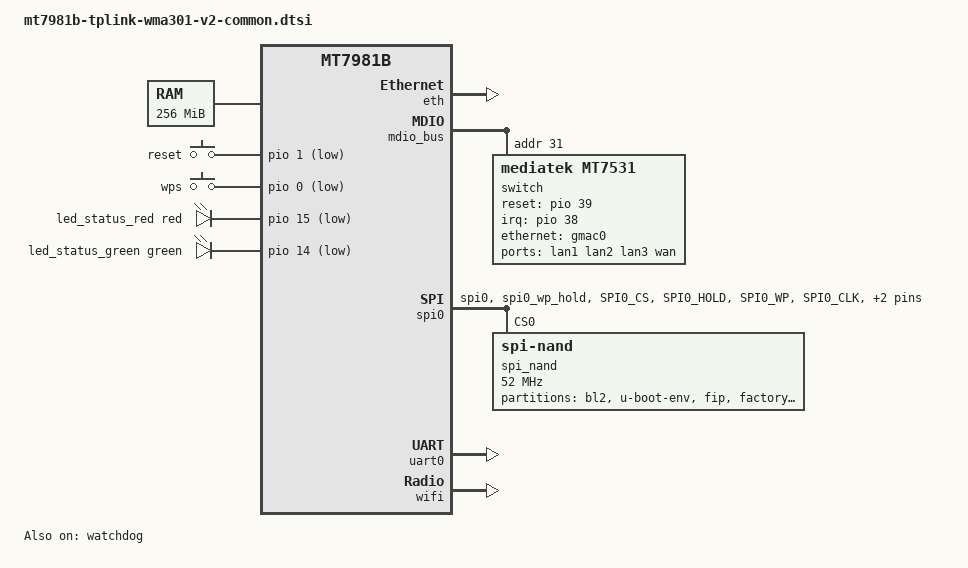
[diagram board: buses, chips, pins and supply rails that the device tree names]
// SPDX-License-Identifier: GPL-2.0-or-later OR MIT

/dts-v1/;
#include <dt-bindings/gpio/gpio.h>
#include <dt-bindings/input/input.h>
#include <dt-bindings/leds/common.h>

#include "mt7981b.dtsi"

/ {
	aliases {
		led-boot = &led_status_red;
		led-failsafe = &led_status_red;
		led-running = &led_status_green;
		led-upgrade = &led_status_green;
		serial0 = &uart0;
	};

	chosen {
		stdout-path = "serial0:115200n8";
		bootargs = "root=/dev/fit0 rootwait";
		rootdisk = <&ubi_rootdisk>;
	};

	memory@40000000 {
		reg = <0 0x40000000 0 0x10000000>;
		device_type = "memory";
	};

	gpio-keys {
		compatible = "gpio-keys";

		button-reset {
			label = "reset";
			linux,code = <KEY_RESTART>;
			gpios = <&pio 1 GPIO_ACTIVE_LOW>;
		};

		button-wps {
			label = "wps";
			linux,code = <KEY_WPS_BUTTON>;
			gpios = <&pio 0 GPIO_ACTIVE_LOW>;
		};
	};

	gpio-leds {
		compatible = "gpio-leds";

		led_status_red: red {
			function = LED_FUNCTION_STATUS;
			color = <LED_COLOR_ID_RED>;
			gpios = <&pio 15 GPIO_ACTIVE_LOW>;
		};

		led_status_green: green {
			function = LED_FUNCTION_STATUS;
			color = <LED_COLOR_ID_GREEN>;
			gpios = <&pio 14 GPIO_ACTIVE_LOW>;
		};
	};
};

&eth {
	status = "okay";

	gmac0: mac@0 {
		compatible = "mediatek,eth-mac";
		reg = <0>;
		phy-mode = "2500base-x";
		nvmem-cells = <&macaddr_1c 0>;
		nvmem-cell-names = "mac-address";

		fixed-link {
			speed = <2500>;
			full-duplex;
			pause;
		};
	};
};

&mdio_bus {
	switch: switch@1f {
		compatible = "mediatek,mt7531";
		reg = <31>;
		reset-gpios = <&pio 39 GPIO_ACTIVE_HIGH>;
		interrupt-controller;
		#interrupt-cells = <1>;
		interrupt-parent = <&pio>;
		interrupts = <38 IRQ_TYPE_LEVEL_HIGH>;
	};
};

&pio {
	spi0_flash_pins: spi0-pins {
		mux {
			function = "spi";
			groups = "spi0", "spi0_wp_hold";
		};

		conf-pu {
			pins = "SPI0_CS", "SPI0_HOLD", "SPI0_WP";
			drive-strength = <MTK_DRIVE_8mA>;
			bias-pull-up = <MTK_PUPD_SET_R1R0_11>;
		};

		conf-pd {
			pins = "SPI0_CLK", "SPI0_MOSI", "SPI0_MISO";
			drive-strength = <MTK_DRIVE_8mA>;
			bias-pull-down = <MTK_PUPD_SET_R1R0_11>;
		};
	};
};

&spi0 {
	pinctrl-names = "default";
	pinctrl-0 = <&spi0_flash_pins>;
	status = "okay";

	spi_nand: flash@0 {
		compatible = "spi-nand";
		reg = <0>;

		spi-max-frequency = <52000000>;
		spi-tx-bus-width = <4>;
		spi-rx-bus-width = <4>;

		mediatek,nmbm;
		mediatek,bmt-max-ratio = <1>;
		mediatek,bmt-max-reserved-blocks = <64>;

		partitions {
			compatible = "fixed-partitions";
			#address-cells = <1>;
			#size-cells = <1>;

			partition@0 {
				label = "bl2";
				reg = <0x00 0x100000>;
				read-only;
			};

			partition@100000 {
				label = "u-boot-env";
				reg = <0x100000 0x100000>;
			};

			partition@200000 {
				label = "fip";
				reg = <0x200000 0x200000>;
				read-only;
			};

			partition@400000 {
				label = "factory";
				reg = <0x400000 0x80000>;
				read-only;

				nvmem-layout {
					compatible = "fixed-layout";
					#address-cells = <1>;
					#size-cells = <1>;

					macaddr_1c: macaddr@1c {
						compatible = "mac-base";
						reg = <0x1c 0x06>;
						#nvmem-cell-cells = <1>;
					};
				};
			};

			partition@480000 {
				label = "art";
				reg = <0x480000 0x80000>;
				read-only;

				nvmem-layout {
					compatible = "fixed-layout";
					#address-cells = <1>;
					#size-cells = <1>;

					eeprom_0: eeprom@0 {
						reg = <0x00 0x1000>;
					};
				};
			};

			ubi: partition@500000 {
				label = "ubi";
				reg = <0x500000 0x7b00000>;
				compatible = "linux,ubi";

				volumes {
					ubi_rootdisk: ubi-volume-fit {
						volname = "fit";
					};
				};
			};
		};
	};
};

&switch {
	ports {
		#address-cells = <1>;
		#size-cells = <0>;

		port@0 {
			reg = <0>;
			label = "lan1";
		};

		port@1 {
			reg = <1>;
			label = "lan2";
		};

		port@2 {
			reg = <2>;
			label = "lan3";
		};

		port@3 {
			reg = <3>;
			label = "wan";

			nvmem-cells = <&macaddr_1c 1>;
			nvmem-cell-names = "mac-address";
		};

		port@6 {
			reg = <6>;
			ethernet = <&gmac0>;
			phy-mode = "2500base-x";

			fixed-link {
				speed = <2500>;
				full-duplex;
				pause;
			};
		};
	};
};

&uart0 {
	status = "okay";
};

&watchdog {
	status = "okay";
};

&wifi {
	nvmem-cells = <&eeprom_0>;
	nvmem-cell-names = "eeprom";
	status = "okay";
};
